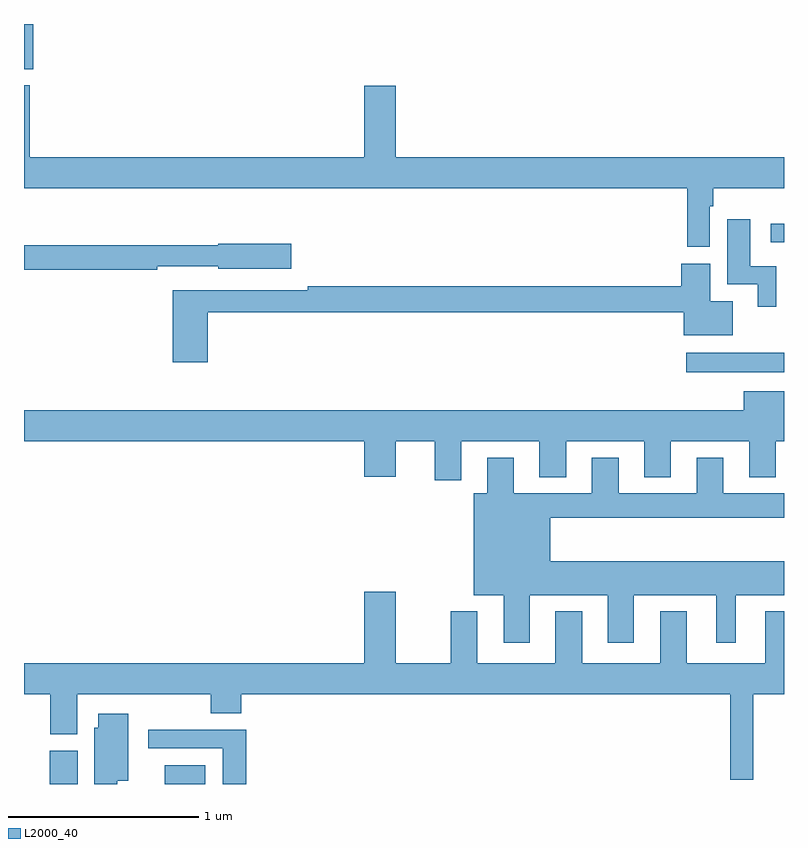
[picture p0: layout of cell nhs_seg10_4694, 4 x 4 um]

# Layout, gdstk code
import gdstk
lib = gdstk.Library(unit=1e-6, precision=1e-09)
def R(c, l, rs):  # rectangles x0, y0, x1, y1
    for r in rs: c.add(gdstk.rectangle(r[:2], r[2:], *l))
def P(c, l, *ps):  # polygons
    for p in ps: c.add(gdstk.Polygon(p, *l))
L2000_40 = (2000, 40)

nhs_seg10_4694 = lib.new_cell('nhs_seg10_4694')
R(nhs_seg10_4694, L2000_40, [(379.136,1310.5,379.282,1310.676), (379.742,1310.5,379.954,1310.599), (382.485,1312.667,383,1312.771), (382.929,1313.352,383,1313.45), (379,1314.263,379.048,1314.5)])
P(nhs_seg10_4694, L2000_40, [(382.608,1313.54),(382.628,1313.54),(382.628,1313.636),(383,1313.636),(383,1313.8),(380.956,1313.8),(380.956,1314.175),(380.792,1314.175),(380.792,1313.8),(379.031,1313.8),(379.031,1314.178),(379,1314.178),(379,1313.636),(382.492,1313.636),(382.492,1313.328),(382.608,1313.328)],
  [(382.96,1313.226),(382.822,1313.226),(382.822,1313.473),(382.7,1313.473),(382.7,1313.13),(382.862,1313.13),(382.862,1313.013),(382.96,1313.013)],
  [(379.7,1313.226),(380.022,1313.226),(380.022,1313.213),(380.407,1313.213),(380.407,1313.343),(380.022,1313.343),(380.022,1313.335),(379,1313.335),(379,1313.206),(379.7,1313.206)],
  [(379.967,1312.984),(382.472,1312.984),(382.472,1312.862),(382.729,1312.862),(382.729,1313.041),(382.612,1313.041),(382.612,1313.239),(382.46,1313.239),(382.46,1313.12),(380.494,1313.12),(380.494,1313.1),(379.784,1313.1),(379.784,1312.719),(379.967,1312.719)],
  [(381.301,1312.304),(381.713,1312.304),(381.713,1312.115),(381.853,1312.115),(381.853,1312.304),(382.265,1312.304),(382.265,1312.115),(382.405,1312.115),(382.405,1312.304),(382.817,1312.304),(382.817,1312.115),(382.957,1312.115),(382.957,1312.304),(383,1312.304),(383,1312.567),(382.787,1312.567),(382.787,1312.468),(379,1312.468),(379,1312.304),(380.792,1312.304),(380.792,1312.116),(380.956,1312.116),(380.956,1312.304),(381.161,1312.304),(381.161,1312.098),(381.301,1312.098)],
  [(381.661,1311.494),(382.073,1311.494),(382.073,1311.243),(382.21,1311.243),(382.21,1311.494),(382.643,1311.494),(382.643,1311.243),(382.747,1311.243),(382.747,1311.494),(383,1311.494),(383,1311.673),(381.769,1311.673),(381.769,1311.902),(383,1311.902),(383,1312.03),(382.681,1312.03),(382.681,1312.216),(382.541,1312.216),(382.541,1312.03),(382.129,1312.03),(382.129,1312.216),(381.989,1312.216),(381.989,1312.03),(381.577,1312.03),(381.577,1312.216),(381.437,1312.216),(381.437,1312.03),(381.368,1312.03),(381.368,1311.494),(381.524,1311.494),(381.524,1311.243),(381.661,1311.243)],
  [(382.837,1310.972),(383,1310.972),(383,1311.409),(382.901,1311.409),(382.901,1311.136),(382.489,1311.136),(382.489,1311.409),(382.349,1311.409),(382.349,1311.136),(381.937,1311.136),(381.937,1311.409),(381.797,1311.409),(381.797,1311.136),(381.385,1311.136),(381.385,1311.409),(381.245,1311.409),(381.245,1311.136),(380.956,1311.136),(380.956,1311.511),(380.792,1311.511),(380.792,1311.136),(379,1311.136),(379,1310.972),(379.139,1310.972),(379.139,1310.761),(379.279,1310.761),(379.279,1310.972),(379.984,1310.972),(379.984,1310.873),(380.144,1310.873),(380.144,1310.972),(382.716,1310.972),(382.716,1310.523),(382.837,1310.523)],
  [(379.492,1310.516),(379.549,1310.516),(379.549,1310.869),(379.391,1310.869),(379.391,1310.796),(379.37,1310.796),(379.37,1310.5),(379.492,1310.5)],
  [(380.171,1310.786),(379.653,1310.786),(379.653,1310.688),(380.045,1310.688),(380.045,1310.5),(380.171,1310.5)])

lib.write_gds('nhs_seg10_4694.gds')
